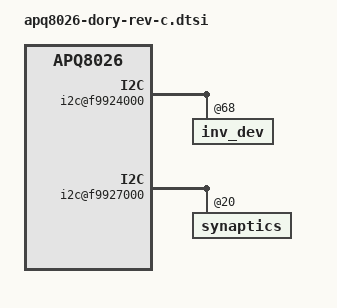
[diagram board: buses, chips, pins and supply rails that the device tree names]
/* Copyright (c) 2012, Code Aurora Forum. All rights reserved.
 * Copyright (c) 2013,2014 LGE Inc.
 *
 * This program is free software; you can redistribute it and/or modify
 * it under the terms of the GNU General Public License version 2 and
 * only version 2 as published by the Free Software Foundation.
 *
 * This program is distributed in the hope that it will be useful,
 * but WITHOUT ANY WARRANTY; without even the implied warranty of
 * MERCHANTABILITY or FITNESS FOR A PARTICULAR PURPOSE.  See the
 * GNU General Public License for more details.
 */

#include "apq8026-dory.dtsi"

&soc {
	sound {
		dory,mic-en-gpio = <&msmgpio 60 0x00>;
	};
	i2c@f9924000 {
		inv_dev@68 {
			axis_map_x = <1>;
			axis_map_y = <0>;
			axis_map_z = <2>;
			negate_x = <1>;
			negate_y = <0>;
			negate_z = <0>;

			inven,secondary_axis_map_x = <0>;
			inven,secondary_axis_map_y = <1>;
			inven,secondary_axis_map_z = <2>;
			inven,secondary_negate_x = <1>;
			inven,secondary_negate_y = <1>;
			inven,secondary_negate_z = <0>;
		};
	};
	i2c@f9927000 {
		synaptics@20 {
			status = "ok";
		};
	};
};
